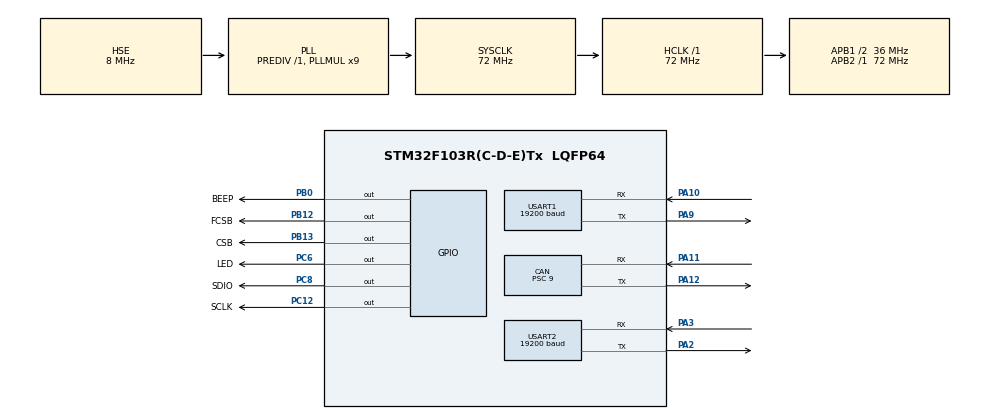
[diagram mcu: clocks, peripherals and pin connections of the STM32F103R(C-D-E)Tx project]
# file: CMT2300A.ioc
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CAN.BS1=CAN_BS1_7TQ
CAN.BS2=CAN_BS2_8TQ
CAN.CalculateTimeBit=750
CAN.CalculateTimeQuantum=250.0
CAN.Prescaler=9
Mcu.Family=STM32F1
Mcu.Name=STM32F103R(C-D-E)Tx
Mcu.Package=LQFP64
NVIC.PriorityGroup=NVIC_PRIORITYGROUP_4
NVIC.TIM3_IRQn=true\:0\:0\:false\:false\:true\:true
NVIC.TIM4_IRQn=true\:0\:0\:false\:false\:true\:true
PA10.Mode=Asynchronous
PA10.Signal=USART1_RX
PA11.Mode=Master
PA11.Signal=CAN_RX
PA12.Mode=Master
PA12.Signal=CAN_TX
PA13.Mode=Serial_Wire
PA13.Signal=SYS_JTMS-SWDIO
PA14.Mode=Serial_Wire
PA14.Signal=SYS_JTCK-SWCLK
PA2.Mode=Asynchronous
PA2.Signal=USART2_TX
PA3.Mode=Asynchronous
PA3.Signal=USART2_RX
PA9.Mode=Asynchronous
PA9.Signal=USART1_TX
PB0.GPIO_Label=BEEP
PB0.Signal=GPIO_Output
PB12.GPIO_Label=FCSB
PB12.Signal=GPIO_Output
PB13.GPIO_Label=CSB
PB13.Signal=GPIO_Output
PC12.GPIO_Label=SCLK
PC12.Signal=GPIO_Output
PC6.GPIO_Label=LED
PC6.Signal=GPIO_Output
PC8.GPIO_Label=SDIO
PC8.Signal=GPIO_Output
PD0-OSC_IN.Mode=HSE-External-Oscillator
PD0-OSC_IN.Signal=RCC_OSC_IN
PD1-OSC_OUT.Mode=HSE-External-Oscillator
PD1-OSC_OUT.Signal=RCC_OSC_OUT
ProjectManager.HeapSize=0x200
ProjectManager.StackSize=0x400
ProjectManager.TargetToolchain=MDK-ARM V5
RCC.AHBFreq_Value=72000000
RCC.APB1CLKDivider=RCC_HCLK_DIV2
RCC.APB1Freq_Value=36000000
RCC.APB1TimFreq_Value=72000000
RCC.APB2Freq_Value=72000000
RCC.APB2TimFreq_Value=72000000
RCC.HCLKFreq_Value=72000000
RCC.PLLMUL=RCC_PLL_MUL9
RCC.PLLSourceVirtual=RCC_PLLSOURCE_HSE
RCC.SYSCLKFreq_VALUE=72000000
RCC.SYSCLKSource=RCC_SYSCLKSOURCE_PLLCLK
RCC.USBFreq_Value=72000000
TIM3.Period=999
TIM3.Prescaler=71
TIM4.Period=999
TIM4.Prescaler=7199
USART1.BaudRate=19200
USART1.VirtualMode=VM_ASYNC
USART2.BaudRate=19200
USART2.VirtualMode=VM_ASYNC
VP_TIM3_VS_ClockSourceINT.Mode=Internal
VP_TIM4_VS_ClockSourceINT.Mode=Internal
board=custom

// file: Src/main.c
/**
  ******************************************************************************
  * @file           : main.c
  * @brief          : Main program body
  ******************************************************************************
  ** This notice applies to any and all portions of this file
  * that are not between comment pairs USER CODE BEGIN and
  * USER CODE END. Other portions of this file, whether
  * inserted by the user or by software development tools
  * are owned by their respective copyright owners.
  *
  * COPYRIGHT(c) 2018 STMicroelectronics
  *
  * Redistribution and use in source and binary forms, with or without modification,
  * are permitted provided that the following conditions are met:
  *   1. Redistributions of source code must retain the above copyright notice,
  *      this list of conditions and the following disclaimer.
  *   2. Redistributions in binary form must reproduce the above copyright notice,
  *      this list of conditions and the following disclaimer in the documentation
  *      and/or other materials provided with the distribution.
  *   3. Neither the name of STMicroelectronics nor the names of its contributors
  *      may be used to endorse or promote products derived from this software
  *      without specific prior written permission.
  *
  * THIS SOFTWARE IS PROVIDED BY THE COPYRIGHT HOLDERS AND CONTRIBUTORS "AS IS"
  * AND ANY EXPRESS OR IMPLIED WARRANTIES, INCLUDING, BUT NOT LIMITED TO, THE
  * IMPLIED WARRANTIES OF MERCHANTABILITY AND FITNESS FOR A PARTICULAR PURPOSE ARE
  * DISCLAIMED. IN NO EVENT SHALL THE COPYRIGHT HOLDER OR CONTRIBUTORS BE LIABLE
  * FOR ANY DIRECT, INDIRECT, INCIDENTAL, SPECIAL, EXEMPLARY, OR CONSEQUENTIAL
  * DAMAGES (INCLUDING, BUT NOT LIMITED TO, PROCUREMENT OF SUBSTITUTE GOODS OR
  * SERVICES; LOSS OF USE, DATA, OR PROFITS; OR BUSINESS INTERRUPTION) HOWEVER
  * CAUSED AND ON ANY THEORY OF LIABILITY, WHETHER IN CONTRACT, STRICT LIABILITY,
  * OR TORT (INCLUDING NEGLIGENCE OR OTHERWISE) ARISING IN ANY WAY OUT OF THE USE
  * OF THIS SOFTWARE, EVEN IF ADVISED OF THE POSSIBILITY OF SUCH DAMAGE.
  *
  ******************************************************************************
  */
#include "main.h"
#include "stm32f1xx_hal.h"
#include "tim.h"
#include "usart.h"
#include "gpio.h"
#include "can.h"
/* USER CODE BEGIN Includes */
#include "stmflash.h"
#include"systick.h"
#include "cmt_spi.h"
#include "cmt2300.h"
#include "radio.h"
#include "DSP_CRC.h"

#include "DSP_CAN_Output.h"
/* USER CODE END Includes */

/* USER CODE BEGIN PV */
/* Private variables ---------------------------------------------------------*/
//#define VEHICLE_TYPE_BUS            1
//#define TWO_AXIS_SINGLE_WHEEL       4//双轴单轮
//uint16_t ID[4]={25237,25228,25246,25234};
//#define THREE_AXIS_SINGLE_WHEEL     6//三轴单轮
//uint16_t ID[6]={25237,25228,25246,25234,25224,25242};
//#define TWO_AXIS_TWO_WHEEL          8//双轴双轮
//uint16_t ID[8]={25237,25228,25246,25234,25224,25242};
//#define THREE_AXIS_TWO_WHEEL          12//三轴双轮

uint16_t ID[12]={25237,25228,25246,25234,25224,50697};
/* USER CODE END PV */

void SystemClock_Config(void);

/* USER CODE BEGIN PFP */
/* Private function prototypes -----------------------------------------------*/
void OnMaster(void);
void OnSlave(void);
/* USER CODE END PFP */

/* USER CODE BEGIN 0 */
uint8_t SP_receive_end_flag;  //接收到数据的标志
uint8_t g_rxBuffer[RF_PACKET_SIZE];  //用来存接受到传感器的数据
uint8_t g_txBuffer[RF_PACKET_SIZE];   //发送的数据，通过CMT2300A
u16 vehicle_type=1;
/* USER CODE END 0 */

	uint8_t abc;
int main(void)
{
  /* USER CODE BEGIN 1 */
  uint16_t ID_read_num=0;
	uint8_t send[16]={0};
  /* USER CODE END 1 */

  /* MCU Configuration----------------------------------------------------------*/

  /* Reset of all peripherals, Initializes the Flash interface and the Systick. */
  HAL_Init();

  /* Configure the system clock */
  SystemClock_Config();

  /* Initialize all configured peripherals */
  MX_GPIO_Init();
  MX_TIM3_Init();
  MX_TIM4_Init();
  MX_USART1_UART_Init();
  MX_USART2_UART_Init();
	MX_CAN_Init();
  /* USER CODE BEGIN 2 */
  RF_Init();
	HAL_TIM_Base_Start_IT(&htim3);
	HAL_TIM_Base_Stop_IT(&htim4);
	delay_ms(1000);         //延时一段时间等待显示器初始化完成
	//STMFLASH_Write(FLASH_ADDR_SET+ADDR_TYPE_OFFSET, &vehicle_type, SIZE_U8*6);
	STMFLASH_Read(FLASH_ADDR_SET+ADDR_TYPE_OFFSET, &vehicle_type, SIZE_U8);
	#ifdef VEHICLE_TYPE_BUS   //普通客车
	if(vehicle_type!=1)
	{
	vehicle_type=1;
	STMFLASH_Write(FLASH_ADDR_SET+ADDR_TYPE_OFFSET, &vehicle_type, SIZE_U8);      //写入车的类型
	}
	#endif
	#ifdef TWO_AXIS_SINGLE_WHEEL   //双轴单轮
	if(vehicle_type!=4)
	{
	vehicle_type=4;
	STMFLASH_Write(FLASH_ADDR_SET+ADDR_TYPE_OFFSET, &vehicle_type, SIZE_U8);      //写入车的类型
	}
	#endif
	#ifdef THREE_AXIS_SINGLE_WHEEL  //三轴单轮
	if(vehicle_type!=6)
	{
	vehicle_type=6;
	STMFLASH_Write(FLASH_ADDR_SET+ADDR_TYPE_OFFSET, &vehicle_type, SIZE_U8);      //写入车的类型
	}
//	STMFLASH_Read(FLASH_ADDR_SET+ADDR_ID_OFFSET, &ID_read_num, 1);
//	if(ID_read_num==0xFFFF)
//	{
//		STMFLASH_Write(FLASH_ADDR_SET+ADDR_ID_OFFSET, ID, SIZE_U8*6);
//	}
//	else
//	{
//		STMFLASH_Read(FLASH_ADDR_SET+ADDR_ID_OFFSET, ID, SIZE_U8*6);
//	}
	#endif
	#ifdef TWO_AXIS_TWO_WHEEL  //双轴双轮
	if(vehicle_type!=8)
	{
	vehicle_type=8;
	STMFLASH_Write(FLASH_ADDR_SET+ADDR_TYPE_OFFSET, &vehicle_type, SIZE_U8);      //写入车的类型
	}
	#endif
	#ifdef THREE_AXIS_TWO_WHEEL   //三轴双轮
	if(vehicle_type!=12)
	{
	vehicle_type=12;
	STMFLASH_Write(FLASH_ADDR_SET+ADDR_TYPE_OFFSET, &vehicle_type, SIZE_U8);      //写入车的类型
	}
	#endif
	STMFLASH_Read(FLASH_ADDR_SET+ADDR_ID_OFFSET, &ID_read_num, 1);
	if(vehicle_type==1)
	{
		if(ID_read_num==0xFFFF)
		{
			STMFLASH_Write(FLASH_ADDR_SET+ADDR_ID_OFFSET, ID, SIZE_U8*6);
		}
		else
		{
			STMFLASH_Read(FLASH_ADDR_SET+ADDR_ID_OFFSET, ID, SIZE_U8*6);
		}
	}
	else
	{
		if(ID_read_num==0xFFFF)
		{
			STMFLASH_Write(FLASH_ADDR_SET+ADDR_ID_OFFSET, ID, SIZE_U8*vehicle_type);
		}
		else
		{
			STMFLASH_Read(FLASH_ADDR_SET+ADDR_ID_OFFSET, ID, SIZE_U8*vehicle_type);
		}
	}
	//告诉显示器挂车的类型
	send[14]=vehicle_type;
	send[15]=0x00;
	send[0]=0x01;
	delay_ms(500);
	delay_ms(500);
	delay_ms(500);
	delay_ms(500);
//	delay_ms(500);
//	delay_ms(500);
//	delay_ms(500);
//	delay_ms(500);
	CAN_Send((uint8_t*)send);
	HAL_UART_Transmit(&huart2,(uint8_t*)send,16,1000);	//发送数据给显示器
	while(__HAL_UART_GET_FLAG(&huart2,UART_FLAG_TC)!=SET);	//等待发送结束
	delay_ms(3);
	CAN_Send((uint8_t*)send);
	HAL_UART_Transmit(&huart2,(uint8_t*)send,16,1000);	//发送数据给显示器
	while(__HAL_UART_GET_FLAG(&huart2,UART_FLAG_TC)!=SET);	//等待发送结束
	while(1)
  {
		  /* USER CODE END 2 */

  /* Infinite loop */

  /* USER CODE BEGIN 3 */
//	delay_ms(500);
//	delay_ms(500);
//			delay_ms(500);
//	delay_ms(500);
//		RF_StartTx(g_txBuffer, RF_PACKET_SIZE, 0);
//		g_txBuffer[2]+=1;
//		if(g_txBuffer[2]==255)
//		g_txBuffer[2]=1;
//		//		g_txBuffer[0]	=0x00;
//		g_txBuffer[1] =0x00;
//		g_txBuffer[2] =0x11;
//		g_txBuffer[3] =0x11;
//		g_txBuffer[4] =0x00;
//		g_txBuffer[5] =0x50;
//		g_txBuffer[6] =0x1C;
//		g_txBuffer[7] =0x00;
//		g_txBuffer[8] =0x00;
//		g_txBuffer[9] =0x00;
//		g_txBuffer[10]=0x00;
//		g_txBuffer[11]=0x50;
//		g_txBuffer[12]=0x1C;
//		g_txBuffer[13]=0x00;
//		g_txBuffer[14]=0x00;
//		g_txBuffer[15]=CRC_OutData(g_txBuffer,15);
//if(g_rxBuffer[15]==CRC_OutData(g_rxBuffer,15)&&g_rxBuffer[3]!=0)
//			RF_StartTx(g_rxBuffer, RF_PACKET_SIZE, 0);
//				CAN_Send((uint8_t*)g_rxBuffer);
	 if(SP_receive_end_flag==1)  //接收到数据
	 {
		  if((g_rxBuffer[0]==0xfe)&&(g_rxBuffer[1]==0x68))
			{
				 g_txBuffer[0]=g_rxBuffer[0];
				 g_txBuffer[1]=g_rxBuffer[1];
				 for(uint8_t i=0;i<6;i++)
				 {
					 g_txBuffer[2+2*i]=ID[i]>>8;
					 g_txBuffer[3+2*i]=ID[i]&0xff;
				 }
				 g_txBuffer[14]=vehicle_type;
				 g_txBuffer[15]=1;
				 RF_StartTx(g_txBuffer, RF_PACKET_SIZE, 0);
				 delay_ms(500);
				 for(uint8_t i=0;i<6;i++)
				 {
					 g_txBuffer[2+2*i]=ID[6+i]>>8;
					 g_txBuffer[3+2*i]=ID[6+i]&0xff;
				 }
				 g_txBuffer[15]=2;
				 RF_StartTx(g_txBuffer, RF_PACKET_SIZE, 0);
				 //delay_ms(200);
			}
		 	if(g_rxBuffer[15]==0xfe)
			{
				  RF_StartTx(g_rxBuffer, RF_PACKET_SIZE, 0);
			}
			else
			{

				if(g_rxBuffer[15]==CRC_OutData(g_rxBuffer,15))
				{
					RF_StartTx(g_rxBuffer, RF_PACKET_SIZE, 0);
					delay_ms(200);
				}
				CAN_Send((uint8_t*)g_rxBuffer);
					if(g_rxBuffer[14]==0x00)  //接收到传感器的数据
					{
						u16 dat=0;
						dat=g_rxBuffer[2]<<8|g_rxBuffer[3];  //	ID值
						if(dat!=0)
						{
						 if((g_rxBuffer[4]==g_rxBuffer[10])&&(g_rxBuffer[5]==g_rxBuffer[11])&&(g_rxBuffer[6]==g_rxBuffer[12])&&(g_rxBuffer[7]==g_rxBuffer[13]))
						 {
								g_rxBuffer[14]=vehicle_type;
								if(vehicle_type==1)
								{
									CAN_Send((uint8_t*)g_rxBuffer);
									HAL_UART_Transmit(&huart2,(uint8_t*)g_rxBuffer,16,1000);	//发送数据给显示器
									while(__HAL_UART_GET_FLAG(&huart2,UART_FLAG_TC)!=SET);	//等待发送结束
								}
								else
								{
									uint8_t i=0;
									for(i=0;i<g_rxBuffer[14];i++)
									{
										if(dat==ID[i])
										{
											g_rxBuffer[15]=i+1;//轮胎的编号
											CAN_Send((uint8_t*)g_rxBuffer);
											HAL_UART_Transmit(&huart2,(uint8_t*)g_rxBuffer,16,1000);	//发送数据给显示器
											while(__HAL_UART_GET_FLAG(&huart2,UART_FLAG_TC)!=SET);	//等待发送结束
											break;
										}
									}
								 }
						  }
						}
					}
					else if((g_rxBuffer[14]==0x40)||(g_rxBuffer[14]==0x60)||(g_rxBuffer[14]==0x80)||(g_rxBuffer[14]==0xc0)||(g_rxBuffer[14]==0x10))  //更新挂车ID的标志
					{
						 u8 i=0;
						 #if (defined VEHICLE_TYPE_BUS||defined TWO_AXIS_SINGLE_WHEEL||defined THREE_AXIS_SINGLE_WHEEL||defined TWO_AXIS_TWO_WHEEL||defined THREE_AXIS_TWO_WHEEL)
						 #else
						 vehicle_type=g_rxBuffer[14]/16;
						 STMFLASH_Write(FLASH_ADDR_SET+ADDR_TYPE_OFFSET,&vehicle_type, SIZE_U8);
						 send[14]=vehicle_type;
//						 HAL_UART_Transmit(&huart2,(uint8_t*)send,16,1000);	//发送数据给显示器
//						 while(__HAL_UART_GET_FLAG(&huart2,UART_FLAG_TC)!=SET);	//等待发送结束
//						 delay_ms(10);
						 #endif
						if(vehicle_type==1)  //双轴单轮
						 {
								CAN_Send((uint8_t*)g_rxBuffer);
									HAL_UART_Transmit(&huart2,(uint8_t*)g_rxBuffer,16,1000);	//发送数据给显示器
									while(__HAL_UART_GET_FLAG(&huart2,UART_FLAG_TC)!=SET);	//等待发送结束
					   }
						 if(vehicle_type==4)  //双轴单轮
						 {
							 for(i=0;i<2;i++)
							 {
									if(((g_rxBuffer[12]>>i)&0x01)==1)
									{
										ID[(g_rxBuffer[12]/16-1)*2+i]=g_rxBuffer[2*i]<<8|g_rxBuffer[2*i+1];
									}
							 }
					   }
						 if(vehicle_type==6)  //双轴单轮
						 {
							 for(i=0;i<2;i++)
							 {
									if(((g_rxBuffer[12]>>i)&0x01)==1)
									{
										ID[(g_rxBuffer[12]/16-1)*2+i]=g_rxBuffer[2*i]<<8|g_rxBuffer[2*i+1];
									}
							 }
						 }
						 if(vehicle_type==8)  //双轴单轮
						 {
							 for(i=0;i<4;i++)
							 {
									if(((g_rxBuffer[12]>>i)&0x01)==1)
									{
										ID[(g_rxBuffer[12]/16-1)*4+i]=g_rxBuffer[2*i]<<8|g_rxBuffer[2*i+1];
									}
							 }
						 }
						 if(vehicle_type==12)  //双轴单轮
						 {
							 for(i=0;i<4;i++)
							 {
									if(((g_rxBuffer[12]>>i)&0x01)==1)
									{
										ID[(g_rxBuffer[12]/16-1)*4+i]=g_rxBuffer[2*i]<<8|g_rxBuffer[2*i+1];
									}
							 }
						 }
             STMFLASH_Write(FLASH_ADDR_SET+ADDR_ID_OFFSET, ID, SIZE_U8*vehicle_type);
					}
					else if((g_rxBuffer[14]&0x0f)==0x01)  //挂车更新ID值和温度值
					{
							CAN_Send((uint8_t*)g_rxBuffer);
							HAL_UART_Transmit(&huart2,(uint8_t*)g_rxBuffer,16,1000);	//发送数据给显示器
							while(__HAL_UART_GET_FLAG(&huart2,UART_FLAG_TC)!=SET);	//等待发送结束
					}
					else if((g_rxBuffer[14]&0xf0)==0x10)
					{
							CAN_Send((uint8_t*)g_rxBuffer);
							HAL_UART_Transmit(&huart2,(uint8_t*)g_rxBuffer,16,1000);	//发送数据给显示器
							while(__HAL_UART_GET_FLAG(&huart2,UART_FLAG_TC)!=SET);	//等待发送结束
					}
			}
			SP_receive_end_flag=0;
		}
  }
  /* USER CODE END 3 */

}

void SystemClock_Config(void)
{

  RCC_OscInitTypeDef RCC_OscInitStruct;
  RCC_ClkInitTypeDef RCC_ClkInitStruct;

    /**Initializes the CPU, AHB and APB busses clocks
    */
  RCC_OscInitStruct.OscillatorType = RCC_OSCILLATORTYPE_HSE;
  RCC_OscInitStruct.HSEState = RCC_HSE_ON;
  RCC_OscInitStruct.HSEPredivValue = RCC_HSE_PREDIV_DIV1;
  RCC_OscInitStruct.HSIState = RCC_HSI_ON;
  RCC_OscInitStruct.PLL.PLLState = RCC_PLL_ON;
  RCC_OscInitStruct.PLL.PLLSource = RCC_PLLSOURCE_HSE;
  RCC_OscInitStruct.PLL.PLLMUL = RCC_PLL_MUL9;
  if (HAL_RCC_OscConfig(&RCC_OscInitStruct) != HAL_OK)
  {
    _Error_Handler(__FILE__, __LINE__);
  }

    /**Initializes the CPU, AHB and APB busses clocks
    */
  RCC_ClkInitStruct.ClockType = RCC_CLOCKTYPE_HCLK|RCC_CLOCKTYPE_SYSCLK
                              |RCC_CLOCKTYPE_PCLK1|RCC_CLOCKTYPE_PCLK2;
  RCC_ClkInitStruct.SYSCLKSource = RCC_SYSCLKSOURCE_PLLCLK;
  RCC_ClkInitStruct.AHBCLKDivider = RCC_SYSCLK_DIV1;
  RCC_ClkInitStruct.APB1CLKDivider = RCC_HCLK_DIV2;
  RCC_ClkInitStruct.APB2CLKDivider = RCC_HCLK_DIV1;

  if (HAL_RCC_ClockConfig(&RCC_ClkInitStruct, FLASH_LATENCY_2) != HAL_OK)
  {
    _Error_Handler(__FILE__, __LINE__);
  }

    /**Configure the Systick interrupt time
    */
  HAL_SYSTICK_Config(HAL_RCC_GetHCLKFreq()/1000);

    /**Configure the Systick
    */
  HAL_SYSTICK_CLKSourceConfig(SYSTICK_CLKSOURCE_HCLK);

  /* SysTick_IRQn interrupt configuration */
  HAL_NVIC_SetPriority(SysTick_IRQn, 0, 0);
}

/* USER CODE BEGIN 4 */
void OnMaster(void)
{
    char str[32];

    switch(RF_Process())
    {
    case RF_IDLE:
    {
       //RF_StartTx(g_txBuffer, RF_PACKET_SIZE, 1000);

        break;
    }

    case RF_TX_DONE:
    {

       // RF_Init();
        //RF_StartRx(g_rxBuffer, RF_PACKET_SIZE, 1000);
        break;
    }

    case RF_RX_DONE:
    {

        break;
    }

    case RF_RX_TIMEOUT:
    {

        break;
    }

    case RF_ERROR:
    {

        break;
    }

    default:
        break;
    }
}

/* Manages the slave operation */
void OnSlave(void)
{
    char str[32];

    switch(RF_Process())
    {
    case RF_IDLE:
    {
        RF_StartRx(g_rxBuffer, RF_PACKET_SIZE, INFINITE);
        break;
    }

    case RF_RX_DONE:
    {

       // Cmt2300_DelayMs(10);
        //SP_receive_end_flag=1;
        //RF_StartTx(g_txBuffer, RF_PACKET_SIZE, 1000);

        break;
    }

    case RF_TX_DONE:
    {

        break;
    }

    case RF_ERROR:
    {

        break;
    }

    default:
        break;
    }
}
/* USER CODE END 4 */

void _Error_Handler(char *file, int line)
{
  while(1)
  {
  }
}

/************************ (C) COPYRIGHT STMicroelectronics *****END OF FILE****/
